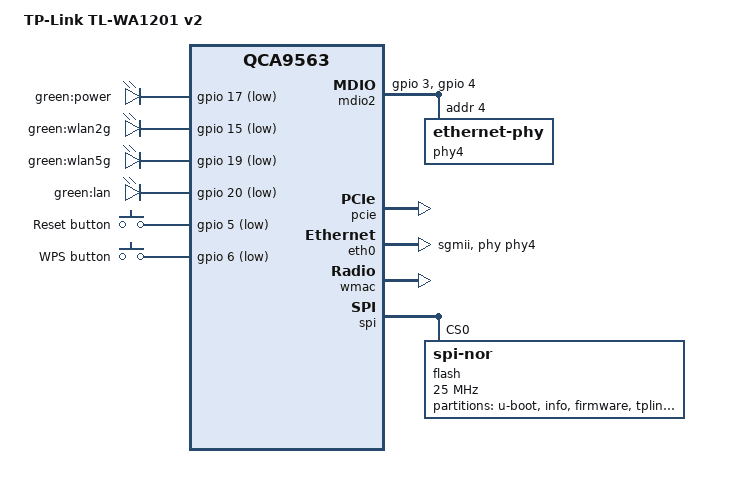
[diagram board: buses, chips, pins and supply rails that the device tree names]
// SPDX-License-Identifier: GPL-2.0-or-later OR MIT

#include "qca956x.dtsi"

#include <dt-bindings/gpio/gpio.h>
#include <dt-bindings/input/input.h>

/ {
	compatible = "tplink,tl-wa1201-v2", "qca,qca9563";
	model = "TP-Link TL-WA1201 v2";

	aliases {
		label-mac-device = &eth0;
		led-boot = &led_power;
		led-failsafe = &led_power;
		led-running = &led_power;
		led-upgrade = &led_power;
		mdio-gpio0 = &mdio2;
	};

	leds {
		compatible = "gpio-leds";

		led_power: power {
			label = "green:power";
			gpios = <&gpio 17 GPIO_ACTIVE_LOW>;
			default-state = "on";
		};

		wlan2g {
			label = "green:wlan2g";
			gpios = <&gpio 15 GPIO_ACTIVE_LOW>;
			linux,default-trigger = "phy1tpt";
		};

		wlan5g {
			label = "green:wlan5g";
			gpios = <&gpio 19 GPIO_ACTIVE_LOW>;
			linux,default-trigger = "phy0tpt";
		};

		lan {
			label = "green:lan";
			gpios = <&gpio 20 GPIO_ACTIVE_LOW>;
		};
	};

	keys {
		compatible = "gpio-keys";

		reset {
			label = "Reset button";
			linux,code = <KEY_RESTART>;
			gpios = <&gpio 5 GPIO_ACTIVE_LOW>;
			debounce-interval = <60>;
		};

		wps {
			label = "WPS button";
			linux,code = <KEY_WPS_BUTTON>;
			gpios = <&gpio 6 GPIO_ACTIVE_LOW>;
			debounce-interval = <60>;
		};
	};

	mdio2: mdio {
		compatible = "virtual,mdio-gpio";

		#address-cells = <1>;
		#size-cells = <0>;

		gpios = <&gpio 3 GPIO_ACTIVE_HIGH>, /* MDC */
			<&gpio 4 GPIO_ACTIVE_HIGH>; /* MDIO */

		phy4: ethernet-phy@4 {
			reg = <4>;

			eee-broken-100tx;
			eee-broken-1000t;
		};
	};
};

&pcie {
	status = "okay";
};

&eth0 {
	status = "okay";

	phy-mode = "sgmii";
	phy-handle = <&phy4>;

	nvmem-cells = <&macaddr_info_8>;
	nvmem-cell-names = "mac-address";
};

&wmac {
	status = "okay";

	mtd-cal-data = <&art 0x1000>;

	nvmem-cells = <&macaddr_info_8>;
	nvmem-cell-names = "mac-address";
};

&spi {
	status = "okay";

	flash@0 {
		compatible = "jedec,spi-nor";
		reg = <0>;
		spi-max-frequency = <25000000>;

		partitions {
			compatible = "fixed-partitions";
			#address-cells = <1>;
			#size-cells = <1>;

			partition@0 {
				label = "u-boot";
				reg = <0x000000 0x020000>;
				read-only;
			};

			info: partition@20000 {
				label = "info";
				reg = <0x020000 0x010000>;
				read-only;
			};

			partition@30000 {
				compatible = "denx,uimage";
				label = "firmware";
				reg = <0x030000 0xce0000>;
			};

			partition@d10000 {
				label = "tplink";
				reg = <0xd10000 0x2e0000>;
				read-only;
			};

			art: partition@ff0000 {
				label = "art";
				reg = <0xff0000 0x010000>;
				read-only;
			};
		};
	};
};

&info {
	compatible = "nvmem-cells";
	#address-cells = <1>;
	#size-cells = <1>;

	macaddr_info_8: macaddr@8 {
		reg = <0x8 0x6>;
	};
};
